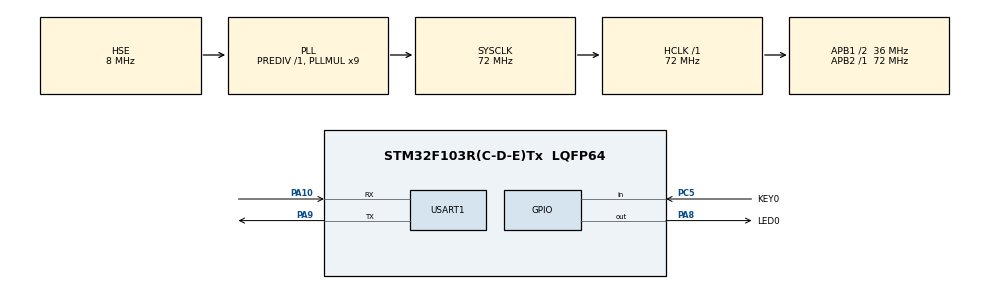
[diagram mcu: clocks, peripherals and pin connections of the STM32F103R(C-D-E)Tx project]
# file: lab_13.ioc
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Dma.Request0=USART1_TX
Dma.Request1=USART1_RX
Dma.USART1_RX.1.Direction=DMA_PERIPH_TO_MEMORY
Dma.USART1_RX.1.Instance=DMA1_Channel5
Dma.USART1_RX.1.MemDataAlignment=DMA_MDATAALIGN_BYTE
Dma.USART1_RX.1.MemInc=DMA_MINC_ENABLE
Dma.USART1_RX.1.Mode=DMA_NORMAL
Dma.USART1_RX.1.PeriphDataAlignment=DMA_PDATAALIGN_BYTE
Dma.USART1_RX.1.PeriphInc=DMA_PINC_DISABLE
Dma.USART1_RX.1.Priority=DMA_PRIORITY_MEDIUM
Dma.USART1_TX.0.Direction=DMA_MEMORY_TO_PERIPH
Dma.USART1_TX.0.Instance=DMA1_Channel4
Dma.USART1_TX.0.MemDataAlignment=DMA_MDATAALIGN_BYTE
Dma.USART1_TX.0.MemInc=DMA_MINC_ENABLE
Dma.USART1_TX.0.Mode=DMA_NORMAL
Dma.USART1_TX.0.PeriphDataAlignment=DMA_PDATAALIGN_BYTE
Dma.USART1_TX.0.PeriphInc=DMA_PINC_DISABLE
Dma.USART1_TX.0.Priority=DMA_PRIORITY_MEDIUM
Mcu.Family=STM32F1
Mcu.Name=STM32F103R(C-D-E)Tx
Mcu.Package=LQFP64
NVIC.DMA1_Channel4_IRQn=true\:1\:0\:true\:false\:true\:false\:true\:true
NVIC.DMA1_Channel5_IRQn=true\:0\:0\:false\:false\:true\:false\:true\:true
NVIC.PriorityGroup=NVIC_PRIORITYGROUP_2
NVIC.USART1_IRQn=true\:1\:0\:true\:false\:true\:true\:true\:true
PA10.Mode=Asynchronous
PA10.Signal=USART1_RX
PA13.Mode=Serial_Wire
PA13.Signal=SYS_JTMS-SWDIO
PA14.Mode=Serial_Wire
PA14.Signal=SYS_JTCK-SWCLK
PA8.GPIO_Label=LED0
PA8.Signal=GPIO_Output
PA9.Mode=Asynchronous
PA9.Signal=USART1_TX
PC5.GPIO_Label=KEY0
PC5.GPIO_PuPd=GPIO_PULLUP
PC5.Signal=GPIO_Input
PD0-OSC_IN.Mode=HSE-External-Oscillator
PD0-OSC_IN.Signal=RCC_OSC_IN
PD1-OSC_OUT.Mode=HSE-External-Oscillator
PD1-OSC_OUT.Signal=RCC_OSC_OUT
ProjectManager.HeapSize=0x200
ProjectManager.StackSize=0x400
ProjectManager.TargetToolchain=STM32CubeIDE
RCC.AHBFreq_Value=72000000
RCC.APB1CLKDivider=RCC_HCLK_DIV2
RCC.APB1Freq_Value=36000000
RCC.APB1TimFreq_Value=72000000
RCC.APB2Freq_Value=72000000
RCC.APB2TimFreq_Value=72000000
RCC.HCLKFreq_Value=72000000
RCC.PLLMUL=RCC_PLL_MUL9
RCC.PLLSourceVirtual=RCC_PLLSOURCE_HSE
RCC.SYSCLKFreq_VALUE=72000000
RCC.SYSCLKSource=RCC_SYSCLKSOURCE_PLLCLK
RCC.USBFreq_Value=72000000
USART1.VirtualMode=VM_ASYNC
board=custom

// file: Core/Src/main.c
/* USER CODE BEGIN Header */
/**
 ******************************************************************************
 * @file           : main.c
 * @brief          : Main program body
 ******************************************************************************
 * @attention
 *
 * <h2><center>&copy; Copyright (c) 2023 STMicroelectronics.
 * All rights reserved.</center></h2>
 *
 * This software component is licensed by ST under BSD 3-Clause license,
 * the "License"; You may not use this file except in compliance with the
 * License. You may obtain a copy of the License at:
 *                        opensource.org/licenses/BSD-3-Clause
 *
 ******************************************************************************
 */
/* USER CODE END Header */
#include "main.h"

/* USER CODE BEGIN Includes */
#include "lcd.h"
#include "string.h"

// #include "lcd_v4.h"
/* USER CODE END Includes */

/* USER CODE BEGIN PM */
#define BUFFER_SIZE 1024

/* USER CODE END PM */

UART_HandleTypeDef huart1;
DMA_HandleTypeDef hdma_usart1_tx;
DMA_HandleTypeDef hdma_usart1_rx;

/* USER CODE BEGIN PV */
extern uint8_t recv_end_flag;
extern uint32_t rx_len;
extern uint8_t rx_buffer[BUFFER_SIZE];
const uint8_t TEXT_TO_SEND[] = {
    "1.Into the wild. A half-moon glowed on smooth granite \
boulders, turning them silver. The silence was\
broken only by the ripple of water from the swift\
black river and the whisper of trees in the forest\
beyond.\
There was a stirring in the shadows, and from\
all around lithe dark shapes crept stealthily over\
the rocks. Unsheathed claws glinted in the\
moonlight. Wary eyes flashed like amber. And\
then, as if on a silent signal, the creatures leaped\
at each other, and suddenly the rocks were alive\
with wrestling, screeching cats.\
At the center of the frenzy of fur and claws, a\
massive dark tabby pinned a bracken-colored tom\
to the ground and drew up his head triumphantly.\
\"Oakheart!\" the tabby growled. \"How dare you\
hunt in our territory? The Sunningrocks belong to\
ThunderClan!\"\
\"After tonight, Tigerclaw, this will be just\
another RiverClan hunting ground!\" the bracken-\
colored tom spat back.\
A warning yowl came from the shore, shrill\
and anxious. \"Look out! More RiverClan warriors\
are coming!\"\
Tigerclaw turned to see sleek wet bodies\
sliding out of the water below the rocks. The\
drenched RiverClan warriors bounded silently up\
the shore and hurled themselves into battle\
without even stopping to shake the water from\
their fur.\
The dark tabby glared down at Oakheart. \"You\
may swim like otters, but you and your warriors\
do not belong in this forest!\" He drew back his lips\
and showed his teeth as the cat struggled beneath\
him.\
The desperate scream of a ThunderClan she-\
cat rose above the clamor. A wiry RiverClan tom\
had pinned the brown warrior flat on her belly.\
Now he lunged toward her neck with jaws still\
dripping from his swim across the river.\
Tigerclaw heard the cry and let go of\
Oakheart. With a mighty leap, he knocked the\
enemy warrior away from the she-cat. \"Quick,\
Mousefur, run!\" he ordered, before turning on the\
RiverClan tom who had threatened her. Mousefur\
scrambled to her paws, wincing from a deep gash\
on her shoulder, and raced away.\
Behind her, Tigerclaw spat with rage as the\
RiverClan tom sliced open his nose. Blood blinded\
him for an instant, but he lunged forward\
regardless and sank his teeth into the hind leg of\
his enemy. The RiverClan cat squealed and\
struggled free.\
\"Tigerclaw!\" The yowl came from a warrior\
with a tail as red as fox fur. \"This is useless! There\
are too many RiverClan warriors!\"\
\"No, Redtail. ThunderClan will never be\
beaten!\" Tigerclaw yowled back, leaping to\
Redtail's side. \"This is our territory!\" Blood was\
welling around his broad black muzzle, and he\
shook his head impatiently, scattering scarlet\
drops onto the rocks.\
\"ThunderClan  will  honor  your  courage,\
Tigerclaw, but we cannot afford to lose any more\
of our warriors,\" Redtail urged. \"Bluestar would\
never expect her warriors to fight against these\
impossible odds. We will have another chance to\
avenge this defeat.\" He met Tigerclaw's amber-\
eyed gaze steadily, then reared away and sprang\
onto a boulder at the edge of the trees.\
\"Retreat, ThunderClan! Retreat!\" he yowled.\
At once his warriors squirmed and struggled away\
from their opponents. Spitting and snarling, they\
backed toward Redtail. For a heartbeat, the\
RiverClan cats looked confused. Was this battle so\
easily won? Then Oakheart yowled a jubilant cry.\
As soon as they heard him, the RiverClan warriors\
raised their voices and joined their deputy in\
caterwauling their victory.\
Redtail looked down at his warriors. With a\
flick of his tail, he gave the signal and the\
ThunderClan cats dived down the far side of the\
Sunningrocks, then disappeared into the trees.\
Tigerclaw followed last. He hesitated at the\
edge of the forest and glanced back at the\
bloodstained battlefield. His face was grim, his\
eyes furious slits. Then he leaped after his Clan\
into the silent forest.\
In a deserted clearing, an old gray she-cat sat\
alone, staring up at the clear night sky. All around\
her in the shadows she could hear the breathing\
and stirrings of sleeping cats.\
A small tortoiseshell she-cat emerged from a\
dark corner, her pawsteps quick and soundless.\
The gray cat dipped her head in greeting.\
\"How is Mousefur?\" she meowed.\
\"Her wounds are deep, Bluestar,\" answered the\
tortoiseshell, settling herself on the night-cool\
grass. \"But she is young and strong; she will heal\
quickly.\"\
\"And the others?\"\
\"They will all recover, too.\"\
Bluestar sighed. \"We are lucky not to have lost\
any of our warriors this time. You are a gifted\
medicine cat, Spottedleaf.\" She tilted her head\
again and studied the stars. \"I am deeply troubled\
by tonight's defeat. ThunderClan has not been\
beaten in its own territory since I became leader,\"\
she murmured. \"These are difficult times for our\
Clan. The season of newleaf is late, and there have\
been fewer kits. ThunderClan needs more\
warriors if it is to survive.\"\
\"But the year is only just beginning,\"\
Spottedleaf pointed out calmly. \"There will be\
more kits when greenleaf comes.\"\
The gray cat twitched her broad shoulders.\
\"Perhaps. But training our young to become\
warriors takes time. If ThunderClan is to defend\
its territory, it must have new warriors as soon as\
possible.\"\
\"Are you asking StarClan for answers?\"\
meowed Spottedleaf gently, following Bluestar's\
gaze and staring up at the swath of stars glittering\
in the dark sky.\
\"It is at times like this we need the words of\
ancient warriors to help us. Has StarClan spoken\
to you?\" Bluestar asked.\
\"Not for some moons, Bluestar.\"\
Suddenly a shooting star blazed over the\
treetops. Spottedleaf's tail twitched and the fur\
along her spine bristled.\
Bluestar's ears pricked but she remained silent\
as Spottedleaf continued to gaze upward.\
After a few moments, Spottedleaf lowered her\
head and turned to Bluestar. \"It was a message\
from StarClan,\" she murmured. A distant look\
came into her eyes. \"Fire alone can save our Clan.\"\
\"Fire?\" Bluestar echoed. \"But fire is feared by\
all the Clans! How can it save us?\"\
Spottedleaf shook her head. \"I do not know,\"\
she admitted. \"But this is the message StarClan\
has chosen to share with me.\"\
The ThunderClan leader fixed her clear blue\
eyes on the medicine cat. \"You have never been\
wrong before, Spottedleaf,\" she meowed. \"If\
StarClan has spoken, then it must be so. Fire will\
save our Clan.\""}; /* 要发送的内容 */
#define SEND_BUF_SIZE sizeof(TEXT_TO_SEND) + 2

uint8_t g_sendbuf[SEND_BUF_SIZE]; /* 发�?�数据缓冲区 */

/* USER CODE END PV */

void SystemClock_Config(void);
static void MX_GPIO_Init(void);
static void MX_DMA_Init(void);
static void MX_USART1_UART_Init(void);

int main(void) {

    /* MCU
     * Configuration--------------------------------------------------------*/

    /* Reset of all peripherals, Initializes the Flash interface and the
     * Systick. */
    HAL_Init();

    /* Configure the system clock */
    SystemClock_Config();

    /* Initialize all configured peripherals */
    MX_GPIO_Init();
    MX_DMA_Init();
    MX_USART1_UART_Init();
    /* USER CODE BEGIN 2 */

    uint16_t i, k;
    uint16_t len;
    uint8_t mask = 0;
    float pro = 0; /* 进度 */

    LCD_Init();
    POINT_COLOR = RED;
    LCD_ShowString(30, 50, 200, 16, 16, "CS301");
    LCD_ShowString(30, 70, 200, 16, 16, "DMA TEST");
    LCD_ShowString(30, 90, 200, 16, 16, "Press KEY0 to start");
    POINT_COLOR = BLUE;

    //  lcd_init();
    //  lcd_show_string(30, 50, 200, 16, 16, "CS301", RED);
    //  lcd_show_string(30, 70, 200, 16, 16, "DMA TEST", RED);
    //  lcd_show_string(30, 90, 200, 16, 16, "Press KEY0 to start", RED);

    len = sizeof(TEXT_TO_SEND);
    k = 0;

    for (i = 0; i < SEND_BUF_SIZE; i++) /* 填充ASCII字符集数 */
    {
        if (k >= len) /* 入换行符 */
        {
            if (mask) {
                g_sendbuf[i] = 0x0a;
                k = 0;
            } else {
                g_sendbuf[i] = 0x0d;
                mask++;
            }
        } else /* 复制TEXT_TO_SEND语句 */
        {
            mask = 0;
            g_sendbuf[i] = TEXT_TO_SEND[k];
            k++;
        }
    }

    i = 0;
    /* USER CODE END 2 */

    /* Infinite loop */
    /* USER CODE BEGIN WHILE */
    // while (1) {
    //     /* USER CODE END WHILE */

    //     /* USER CODE BEGIN 3 */
    //     if (HAL_GPIO_ReadPin(KEY0_GPIO_Port, KEY0_Pin) ==
    //         GPIO_PIN_RESET) /* KEY0按下 */
    //     {
    //         LCD_ShowString(30, 130, 200, 16, 16, "Start Transimit....");
    //         LCD_ShowString(30, 150, 200, 16, 16, "   %"); /* 显示百分�?? */
    //         //	      lcd_show_string(30, 130, 200, 16, 16, "Start
    //         // Transimit....", BLUE); 	      lcd_show_string(30, 150, 200, 16,
    //         // 16, " %", BLUE);    /* 显示百分�?? */

    //         HAL_UART_Transmit_DMA(&huart1, g_sendbuf, SEND_BUF_SIZE);
    //         /* 等待DMA传输完成，此时CPU空闲，可以处理其他任�??
    //          * 实际应用中，传输数据期间，可以执行另外的任务
    //          */

    //         while (1) {
    //             /* 等待 DMA1_Channel4 传输完成 */
    //             if (__HAL_DMA_GET_FLAG(
    //                     &hdma_usart1_tx,
    //                     DMA_FLAG_TC4)) /* 等待 DMA1_Channel4 传输完成 */
    //             {
    //                 __HAL_DMA_CLEAR_FLAG(
    //                     &hdma_usart1_tx,
    //                     DMA_FLAG_TC4); /* 清除 DMA1_Channel4 传输完成标志 */
    //                 HAL_UART_DMAStop(&huart1); /* 传输完成以后关闭串口DMA */
    //                 break;
    //             }

    //             pro = __HAL_DMA_GET_COUNTER(
    //                 &hdma_usart1_tx); /* 得到当前还剩余多少个数据 */
    //             len = SEND_BUF_SIZE;  /* 总长�?? */
    //             pro = 1 - (pro / len); /* 得到百分�?? */
    //             pro *= 100;            /* 扩大100�?? */
    //             LCD_ShowNum(30, 150, pro, 3, 16);
    //             //	          lcd_show_num(30, 150, pro, 3, 16, BLUE);
    //         }
    //         LCD_ShowNum(30, 150, 100, 3, 16); /* 显示100% */
    //         LCD_ShowString(30, 130, 200, 16, 16,
    //                        "Transimit Finished!"); /* 提示传�?�完�?? */
    //         //	      lcd_show_num(30, 150, 100, 3, 16, BLUE);    /* 显示100% */
    //         //	      lcd_show_string(30, 130, 200, 16, 16, "Transimit
    //         // Finished!", BLUE); /* 提示传�?�完�?? */
    //     }
    // }
    while (1) {
        if (recv_end_flag) {
            recv_end_flag = 0;
            HAL_UART_Transmit_DMA(&huart1, rx_buffer, BUFFER_SIZE);
            LCD_ShowString(30, 110, 200, 16, 16, "The data is: ");
            LCD_ShowString(30, 130, 200, 16, 16, rx_buffer);
            memset(rx_buffer, 0, rx_len);
            rx_len = 0;
        }
        HAL_UART_Receive_DMA(&huart1, rx_buffer, BUFFER_SIZE);
    }
    /* USER CODE END 3 */
}

void SystemClock_Config(void) {
    RCC_OscInitTypeDef RCC_OscInitStruct = {0};
    RCC_ClkInitTypeDef RCC_ClkInitStruct = {0};

    /** Initializes the RCC Oscillators according to the specified
     * parameters in the RCC_OscInitTypeDef structure.
     */
    RCC_OscInitStruct.OscillatorType = RCC_OSCILLATORTYPE_HSE;
    RCC_OscInitStruct.HSEState = RCC_HSE_ON;
    RCC_OscInitStruct.HSEPredivValue = RCC_HSE_PREDIV_DIV1;
    RCC_OscInitStruct.HSIState = RCC_HSI_ON;
    RCC_OscInitStruct.PLL.PLLState = RCC_PLL_ON;
    RCC_OscInitStruct.PLL.PLLSource = RCC_PLLSOURCE_HSE;
    RCC_OscInitStruct.PLL.PLLMUL = RCC_PLL_MUL9;
    if (HAL_RCC_OscConfig(&RCC_OscInitStruct) != HAL_OK) {
        Error_Handler();
    }

    /** Initializes the CPU, AHB and APB buses clocks
     */
    RCC_ClkInitStruct.ClockType = RCC_CLOCKTYPE_HCLK | RCC_CLOCKTYPE_SYSCLK |
                                  RCC_CLOCKTYPE_PCLK1 | RCC_CLOCKTYPE_PCLK2;
    RCC_ClkInitStruct.SYSCLKSource = RCC_SYSCLKSOURCE_PLLCLK;
    RCC_ClkInitStruct.AHBCLKDivider = RCC_SYSCLK_DIV1;
    RCC_ClkInitStruct.APB1CLKDivider = RCC_HCLK_DIV2;
    RCC_ClkInitStruct.APB2CLKDivider = RCC_HCLK_DIV1;

    if (HAL_RCC_ClockConfig(&RCC_ClkInitStruct, FLASH_LATENCY_2) != HAL_OK) {
        Error_Handler();
    }
}

static void MX_USART1_UART_Init(void) {

    huart1.Instance = USART1;
    huart1.Init.BaudRate = 115200;
    huart1.Init.WordLength = UART_WORDLENGTH_8B;
    huart1.Init.StopBits = UART_STOPBITS_1;
    huart1.Init.Parity = UART_PARITY_NONE;
    huart1.Init.Mode = UART_MODE_TX_RX;
    huart1.Init.HwFlowCtl = UART_HWCONTROL_NONE;
    huart1.Init.OverSampling = UART_OVERSAMPLING_16;
    if (HAL_UART_Init(&huart1) != HAL_OK) {
        Error_Handler();
    }
    /* USER CODE BEGIN USART1_Init 2 */
    __HAL_UART_ENABLE_IT(&huart1, UART_IT_RXNE);
    __HAL_UART_ENABLE_IT(&huart1, UART_IT_IDLE);
    HAL_UART_Receive_DMA(&huart1, rx_buffer, BUFFER_SIZE);
    /* USER CODE END USART1_Init 2 */
}

static void MX_DMA_Init(void) {
    /* DMA controller clock enable */
    __HAL_RCC_DMA1_CLK_ENABLE();

    /* DMA interrupt init */
    /* DMA1_Channel4_IRQn interrupt configuration */
    HAL_NVIC_SetPriority(DMA1_Channel4_IRQn, 1, 0);
    HAL_NVIC_EnableIRQ(DMA1_Channel4_IRQn);
    /* DMA1_Channel5_IRQn interrupt configuration */
    HAL_NVIC_SetPriority(DMA1_Channel5_IRQn, 0, 0);
    HAL_NVIC_EnableIRQ(DMA1_Channel5_IRQn);
}

static void MX_GPIO_Init(void) {
    GPIO_InitTypeDef GPIO_InitStruct = {0};

    /* GPIO Ports Clock Enable */
    __HAL_RCC_GPIOD_CLK_ENABLE();
    __HAL_RCC_GPIOC_CLK_ENABLE();
    __HAL_RCC_GPIOA_CLK_ENABLE();

    /*Configure GPIO pin Output Level */
    HAL_GPIO_WritePin(LED0_GPIO_Port, LED0_Pin, GPIO_PIN_RESET);

    /*Configure GPIO pin : KEY0_Pin */
    GPIO_InitStruct.Pin = KEY0_Pin;
    GPIO_InitStruct.Mode = GPIO_MODE_INPUT;
    GPIO_InitStruct.Pull = GPIO_PULLUP;
    HAL_GPIO_Init(KEY0_GPIO_Port, &GPIO_InitStruct);

    /*Configure GPIO pin : LED0_Pin */
    GPIO_InitStruct.Pin = LED0_Pin;
    GPIO_InitStruct.Mode = GPIO_MODE_OUTPUT_PP;
    GPIO_InitStruct.Pull = GPIO_NOPULL;
    GPIO_InitStruct.Speed = GPIO_SPEED_FREQ_LOW;
    HAL_GPIO_Init(LED0_GPIO_Port, &GPIO_InitStruct);

}

void Error_Handler(void) {
    /* USER CODE BEGIN Error_Handler_Debug */
    /* User can add his own implementation to report the HAL error return
     * state
     */
    __disable_irq();
    while (1) {
    }
    /* USER CODE END Error_Handler_Debug */
}

#ifdef USE_FULL_ASSERT
/**
 * @brief  Reports the name of the source file and the source line number
 *         where the assert_param error has occurred.
 * @param  file: pointer to the source file name
 * @param  line: assert_param error line source number
 * @retval None
 */
void assert_failed(uint8_t* file, uint32_t line) {
    /* USER CODE BEGIN 6 */
    /* User can add his own implementation to report the file name and line
       number, ex: printf("Wrong parameters value: file %s on line %d\r\n",
       file, line) */
    /* USER CODE END 6 */
}
#endif /* USE_FULL_ASSERT */
